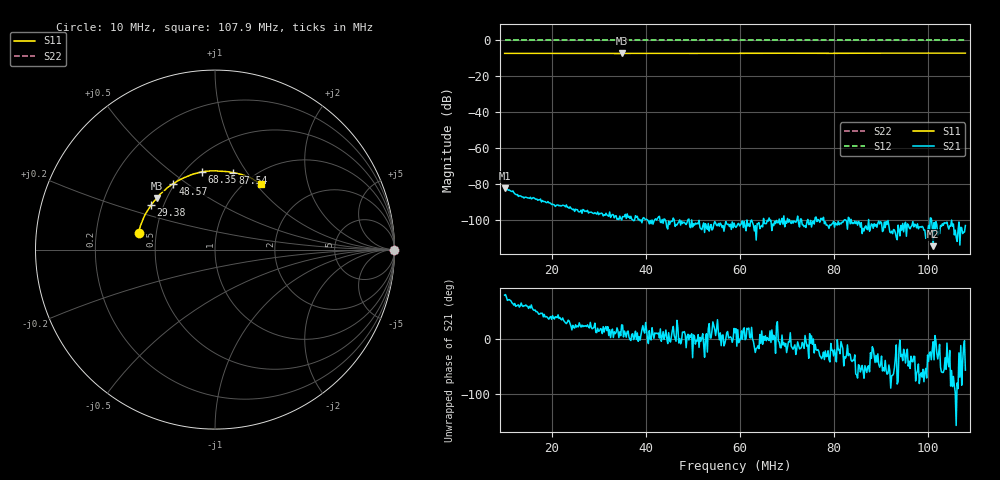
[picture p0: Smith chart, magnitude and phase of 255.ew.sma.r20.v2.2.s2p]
! Anritsu VNA Master:  Model: MS2036C/10/77
! SN:  1601066
! /card0/usr/255.ew.sma.r20.v2.2.s2p
! Existing Calibration Information:
! TYPE:  Current Settings,  Active Cal Settings
! TIME:  12/17/2017 06:25:53 PM,  12/17/2017 06:11:23 PM
! INTERNAL TEMP:  43.8 C,  43.8 C
! # POINTS:  501,  501
! START FREQ:  10.000 MHz,  10.000 MHz
! STOP FREQ:  107.903 125 MHz,  107.903 125 MHz
! SOURCE POWER:  High,  High
! IFBW:  100 Hz,  100 Hz
! AVG FACTOR:  1 ,  1
! REF PLANE 1:  0 mm,  0 mm
! REF PLANE 2:  0 mm,  0 mm
! CAL TYPE:  Full S11,  Full S11
! CAL METHOD:  SOLT,  SOLT
! CAL LINE TYPE:  Coax,  Coax
! DUT PORT 1:  K-Conn(F),  K-Conn(F)
! DUT PORT 2:  K-Conn(F),  K-Conn(F)
! CAL STATUS:  OK: Accuracy High,  --
# GHZ S DB R 50.0
! FREQ.GHZ  S11DB  S11A  S21DB  S21A  S12DB  S12A  S22DB  S22A
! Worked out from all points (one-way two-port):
!   501 points, 10 MHz to 107.9 MHz, reference 50 ohm
!   highest |S21| = -82.52 dB at 10 MHz (marker M1); lowest = -114.9 dB at 101 MHz (marker M2)
!   lowest |S11| = -7.3 dB at 34.87 MHz (marker M3), VSWR 2.52, Z = 22.2 + j15.7 ohm
!   |S11| at or under -10 dB: nowhere
!   |S22| runs from 0.0 to 0.0 dB; largest |S21 - S12| = 1
!   S11 on the Smith chart (normalised r, x): 10 MHz: 0.40, +0.09; 29.38 MHz: 0.43, +0.26; 48.57 MHz: 0.49, +0.45; 68.35 MHz: 0.60, +0.65; 87.54 MHz: 0.81, +0.86; 107.9 MHz: 1.17, +1.06
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0.01  -7.22 167.7  -82.52 78.2  0.00 0.0  0.00 0.0
0.01430774  -7.21 162.5  -87.55 59.0  0.00 0.0  0.00 0.0
0.02096515  -7.22 154.6  -92.13 38.7  0.00 0.0  0.00 0.0
0.02644772  -7.26 148.2  -96.51 24.2  0.00 0.0  0.00 0.0
0.02938482  -7.23 144.8  -96.60 11.1  0.00 0.0  0.00 0.0
0.03486739  -7.28 138.2  -100.22 24.7  0.00 0.0  0.00 0.0
0.03760868  -7.23 135.0  -100.44 4.3  0.00 0.0  0.00 0.0
0.04269964  -7.26 128.9  -98.54 10.0  0.00 0.0  0.00 0.0
0.04387448  -7.22 127.5  -99.65 -1.5  0.00 0.0  0.00 0.0
0.04857383  -7.24 122.2  -102.79 -16.4  0.00 0.0  0.00 0.0
0.05131512  -7.21 118.9  -100.42 -15.9  0.00 0.0  0.00 0.0
0.05914737  -7.20 109.7  -104.38 17.8  0.00 0.0  0.00 0.0
0.06267188  -7.17 105.8  -101.61 -0.7  0.00 0.0  0.00 0.0
0.06835026  -7.15 99.3  -99.72 -6.6  0.00 0.0  0.00 0.0
0.07539929  -7.16 91.6  -101.73 -10.3  0.00 0.0  0.00 0.0
0.07990283  -7.19 86.2  -101.01 -31.2  0.00 0.0  0.00 0.0
0.08440638  -7.13 80.8  -100.92 -29.3  0.00 0.0  0.00 0.0
0.08753927  -7.13 77.1  -106.52 -59.8  0.00 0.0  0.00 0.0
0.09165121  -7.06 72.3  -103.46 -47.6  0.00 0.0  0.00 0.0
0.09830862  -7.02 65.2  -103.99 -65.7  0.00 0.0  0.00 0.0
0.1010499  -7.01 62.6  -114.85 -5.7  0.00 0.0  0.00 0.0
0.1079031  -7.04 55.0  -103.34 -56.9  0.00 0.0  0.00 0.0
